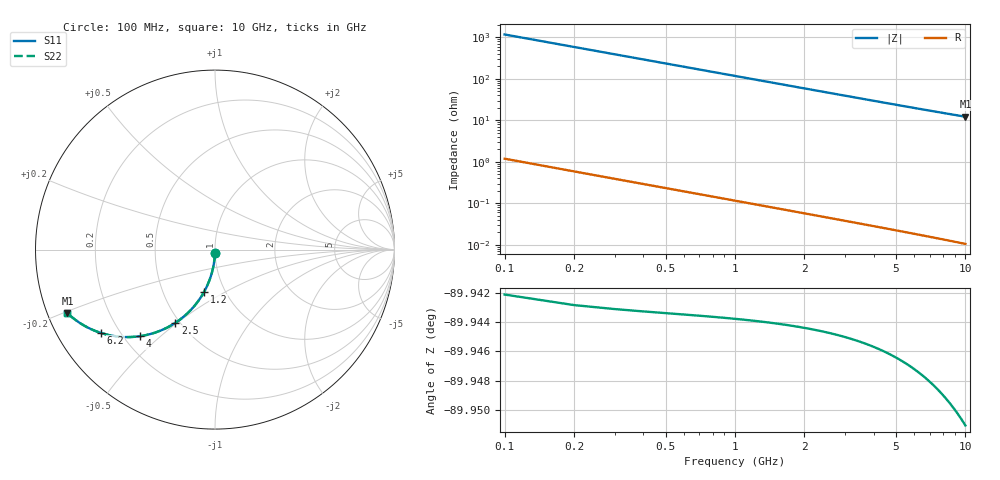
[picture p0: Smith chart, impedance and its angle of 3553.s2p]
# Hz S RI R 50.00
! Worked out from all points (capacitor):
!   100 points, 100 MHz to 10 GHz, reference 50 ohm
!   read as one part in shunt: C = 1.35 pF near 100 MHz
!   lowest |Z| = 12.3 ohm at 10 GHz (marker M1)
!   S11 on the Smith chart (normalised r, x): 100 MHz: 1.00, -0.04; 1.2 GHz: 0.80, -0.40; 2.5 GHz: 0.47, -0.49; 4 GHz: 0.26, -0.43; 6.2 GHz: 0.13, -0.32; 10 GHz: 0.06, -0.21
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1e8  -0.000413 -0.021  0.9995 -0.0215  0.9995 -0.0215  -0.000413 -0.021
2e8  -0.00178 -0.0419  0.9981 -0.0429  0.9981 -0.0429  -0.00178 -0.0419
3e8  -0.00404 -0.0626  0.9958 -0.0642  0.9958 -0.0642  -0.00404 -0.0626
4e8  -0.00718 -0.0832  0.9927 -0.0853  0.9927 -0.0853  -0.00718 -0.0832
5e8  -0.0112 -0.1036  0.9887 -0.1062  0.9887 -0.1062  -0.0112 -0.1036
6e8  -0.016 -0.1237  0.9839 -0.1268  0.9839 -0.1268  -0.016 -0.1237
7e8  -0.0217 -0.1435  0.9782 -0.1471  0.9782 -0.1471  -0.0217 -0.1435
9e8  -0.0353 -0.1819  0.9646 -0.1866  0.9646 -0.1866  -0.0353 -0.1819
1.2e9  -0.0611 -0.236  0.9388 -0.2422  0.9388 -0.2422  -0.0611 -0.236
1.5e9  -0.0922 -0.2851  0.9076 -0.2928  0.9076 -0.2928  -0.0922 -0.2851
1.8e9  -0.1276 -0.3286  0.8722 -0.3379  0.8722 -0.3379  -0.1276 -0.3286
2.1e9  -0.1661 -0.3663  0.8338 -0.3772  0.8338 -0.3772  -0.1661 -0.3663
2.5e9  -0.2201 -0.4074  0.7797 -0.4204  0.7797 -0.4204  -0.2201 -0.4074
2.9e9  -0.2753 -0.4387  0.7244 -0.4538  0.7244 -0.4538  -0.2753 -0.4387
3.4e9  -0.3432 -0.4655  0.6565 -0.4832  0.6565 -0.4832  -0.3432 -0.4655
4e9  -0.42 -0.4826  0.5797 -0.5035  0.5797 -0.5035  -0.42 -0.4826
5.1e9  -0.5413 -0.4844  0.4582 -0.5111  0.4582 -0.5111  -0.5413 -0.4844
6.2e9  -0.6363 -0.4641  0.363 -0.4968  0.363 -0.4968  -0.6363 -0.4641
6.7e9  -0.6717 -0.4512  0.3275 -0.4867  0.3275 -0.4867  -0.6717 -0.4512
7.5e9  -0.72 -0.4283  0.279 -0.4682  0.279 -0.4682  -0.72 -0.4283
8.4e9  -0.7641 -0.4012  0.2348 -0.4462  0.2348 -0.4462  -0.7641 -0.4012
1e10  -0.8222 -0.3541  0.1762 -0.4082  0.1762 -0.4082  -0.8222 -0.3541
